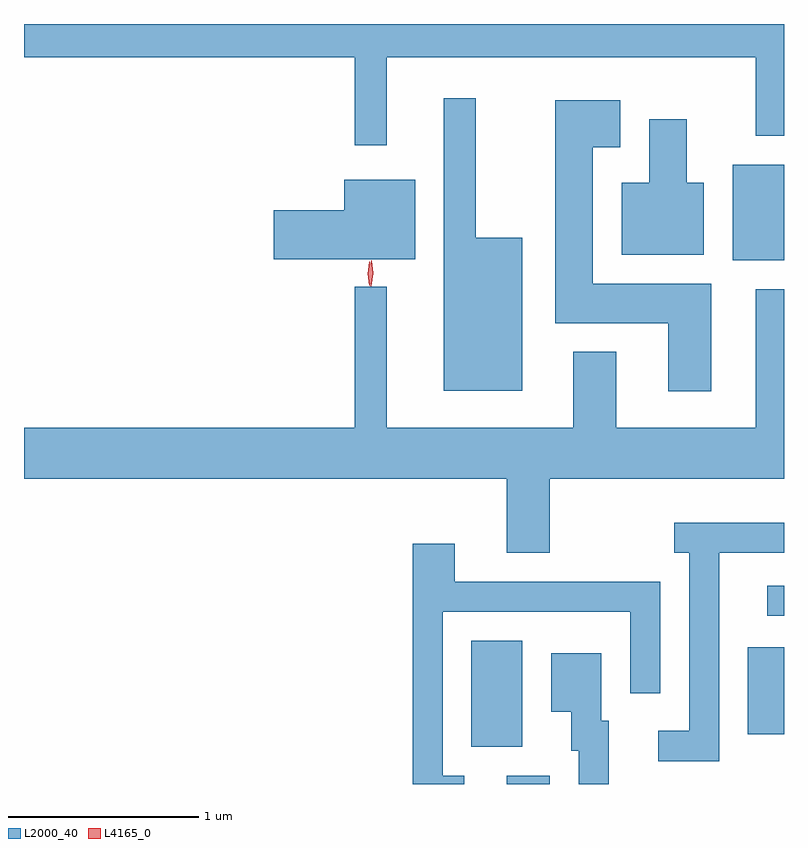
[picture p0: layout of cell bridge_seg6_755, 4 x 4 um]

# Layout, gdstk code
import gdstk
lib = gdstk.Library(unit=1e-6, precision=1e-09)
def R(c, l, rs):  # rectangles x0, y0, x1, y1
    for r in rs: c.add(gdstk.rectangle(r[:2], r[2:], *l))
def P(c, l, *ps):  # polygons
    for p in ps: c.add(gdstk.Polygon(p, *l))
L2000_40 = (2000, 40)
L4165_0 = (4165, 0)

bridge_seg6_755 = lib.new_cell('bridge_seg6_755')
R(bridge_seg6_755, L2000_40, [(497.721,1539.55,497.949,1539.594), (497.536,1539.746,497.804,1540.304), (498.991,1539.811,499.181,1540.269), (499.093,1540.436,499.181,1540.594), (498.911,1542.306,499.181,1542.809)])
P(bridge_seg6_755, L2000_40, [(497.089,1543.376),(499.031,1543.376),(499.031,1542.961),(499.181,1542.961),(499.181,1543.55),(495.181,1543.55),(495.181,1543.376),(496.921,1543.376),(496.921,1542.913),(497.089,1542.913)],
  [(497.804,1542.424),(497.559,1542.424),(497.559,1543.158),(497.391,1543.158),(497.391,1541.621),(497.804,1541.621)],
  [(498.799,1542.184),(498.174,1542.184),(498.174,1542.901),(498.319,1542.901),(498.319,1543.149),(497.976,1543.149),(497.976,1541.976),(498.571,1541.976),(498.571,1541.616),(498.799,1541.616)],
  [(498.759,1542.714),(498.669,1542.714),(498.669,1543.049),(498.471,1543.049),(498.471,1542.714),(498.326,1542.714),(498.326,1542.336),(498.759,1542.336)],
  [(497.239,1542.729),(496.866,1542.729),(496.866,1542.569),(496.496,1542.569),(496.496,1542.311),(497.239,1542.311)],
  [(497.089,1542.168),(496.921,1542.168),(496.921,1541.424),(495.181,1541.424),(495.181,1541.156),(497.721,1541.156),(497.721,1540.766),(497.949,1540.766),(497.949,1541.156),(499.181,1541.156),(499.181,1542.154),(499.031,1542.154),(499.031,1541.424),(498.299,1541.424),(498.299,1541.824),(498.071,1541.824),(498.071,1541.424),(497.089,1541.424)],
  [(498.839,1540.766),(499.181,1540.766),(499.181,1540.924),(498.603,1540.924),(498.603,1540.766),(498.681,1540.766),(498.681,1539.829),(498.518,1539.829),(498.518,1539.671),(498.839,1539.671)],
  [(497.498,1539.594),(497.384,1539.594),(497.384,1540.456),(498.371,1540.456),(498.371,1540.028),(498.529,1540.028),(498.529,1540.614),(497.449,1540.614),(497.449,1540.814),(497.226,1540.814),(497.226,1539.55),(497.498,1539.55)],
  [(498.259,1539.884),(498.219,1539.884),(498.219,1540.239),(497.956,1540.239),(497.956,1539.931),(498.061,1539.931),(498.061,1539.726),(498.101,1539.726),(498.101,1539.55),(498.259,1539.55)])
P(bridge_seg6_755, L4165_0, [(497.007,1542.17),(497.007,1542.17),(496.998,1542.238),(497.009,1542.305),(497.009,1542.306),(497.01,1542.305),(497.018,1542.238),(497.008,1542.17)],
  [(497,1542.173),(496.999,1542.174),(496.989,1542.236),(496.999,1542.3),(496.999,1542.3),(497,1542.3),(497.009,1542.236),(497,1542.174)])

lib.write_gds('bridge_seg6_755.gds')
